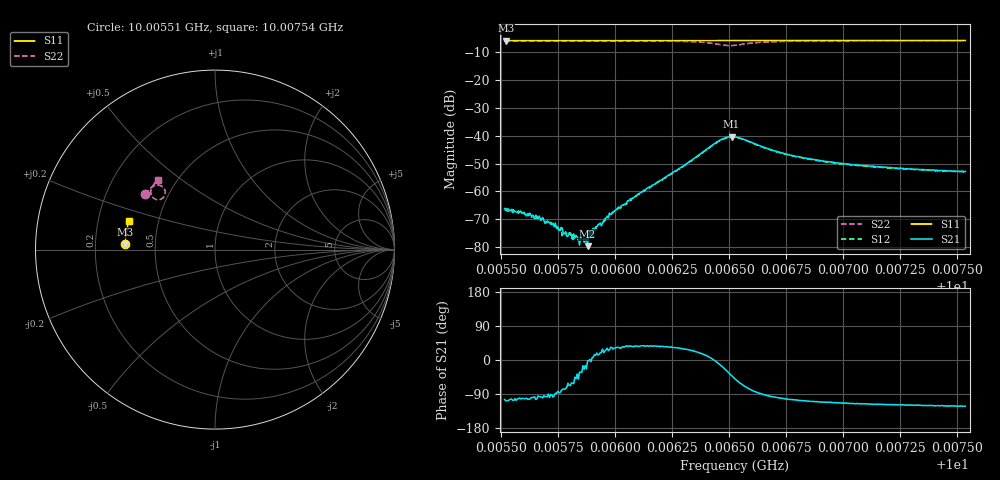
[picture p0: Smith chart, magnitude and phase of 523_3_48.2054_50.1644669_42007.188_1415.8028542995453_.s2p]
#  HZ  S  RI  R  50.00
! Rohde & Schwarz Vector Network Analyzer
! Rohde-Schwarz,ZNB20-2Port,1311601062101988,3.16
! Created: UTC 3/20/2024, 11:59:34 AM
! freq[Hz]  re:S11  im:S11  re:S21  im:S21  re:S12  im:S12  re:S22  im:S22
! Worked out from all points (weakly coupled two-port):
!   401 points, 10.00551 GHz to 10.00754 GHz, reference 50 ohm
!   highest |S21| = -40.42 dB at 10.00651 GHz (marker M1); lowest = -79.6 dB at 10.00588 GHz (marker M2)
!   lowest |S11| = -6.0 dB at 10.00552 GHz (marker M3), VSWR 3.01, Z = 16.6 + j1.35 ohm
!   |S11| at or under -10 dB: nowhere
!   |S22| runs from -7.8 to -6.0 dB; largest |S21 - S12| = 0.00059
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1.0005514e10  -0.5004 0.03  -0.000121 -0.000478  -8.53e-05 -0.000443  -0.3902 0.3073
1.0005519e10  -0.5003 0.0304  -0.00015 -0.00047  -0.000107 -0.000458  -0.3899 0.3074
1.0005549e10  -0.5003 0.0323  -0.000115 -0.0004  -8.84e-05 -0.000464  -0.3886 0.3092
1.000563e10  -0.5 0.0376  -6.17e-05 -0.000368  -5.28e-05 -0.000338  -0.385 0.3142
1.0005711e10  -0.4998 0.0428  -4.1e-05 -0.000275  -2.96e-05 -0.000269  -0.3811 0.3191
1.0005777e10  -0.4995 0.0472  3.79e-05 -0.00017  4.77e-05 -0.000168  -0.3778 0.323
1.0005792e10  -0.4994 0.0483  7.63e-05 -0.000139  7.42e-05 -0.000161  -0.3771 0.3239
1.0005828e10  -0.4993 0.0504  0.000108 -0.000124  8.78e-05 -0.000118  -0.3751 0.326
1.0005833e10  -0.4994 0.0507  0.000122 -9.13e-05  0.000117 -8.83e-05  -0.3749 0.3265
1.0005853e10  -0.4991 0.0521  0.000118 -7.59e-05  0.000129 -4.84e-05  -0.3737 0.3277
1.0005868e10  -0.4991 0.0531  0.000124 -3.26e-05  0.000131 -2.15e-07  -0.3728 0.3287
1.0005878e10  -0.499 0.0537  0.000105 -4.19e-06  0.00015 -3.29e-05  -0.3724 0.3295
1.0005914e10  -0.4989 0.0562  0.000229 5.1e-05  0.000193 4.06e-05  -0.3703 0.3317
1.0005984e10  -0.4985 0.0607  0.000341 0.000223  0.000349 0.000184  -0.3658 0.3363
1.0006192e10  -0.4968 0.0741  0.00121 0.000903  0.00116 0.00096  -0.3474 0.3512
1.000645e10  -0.4941 0.0907  0.00777 -0.00102  0.00765 -0.000547  -0.2789 0.3311
1.0006511e10  -0.4933 0.0939  0.00717 -0.00627  0.0074 -0.00576  -0.2932 0.2853
1.0006526e10  -0.4934 0.0949  0.00608 -0.00721  0.00636 -0.00673  -0.3048 0.2795
1.0006724e10  -0.492 0.1074  -0.000911 -0.00492  -0.000646 -0.00489  -0.3578 0.326
1.0006865e10  -0.4902 0.1165  -0.00126 -0.00356  -0.00106 -0.00354  -0.3516 0.3463
1.0007205e10  -0.4854 0.1379  -0.00126 -0.00236  -0.00112 -0.00238  -0.333 0.3725
1.0007539e10  -0.4797 0.1587  -0.00121 -0.00193  -0.00111 -0.00193  -0.3154 0.3902
